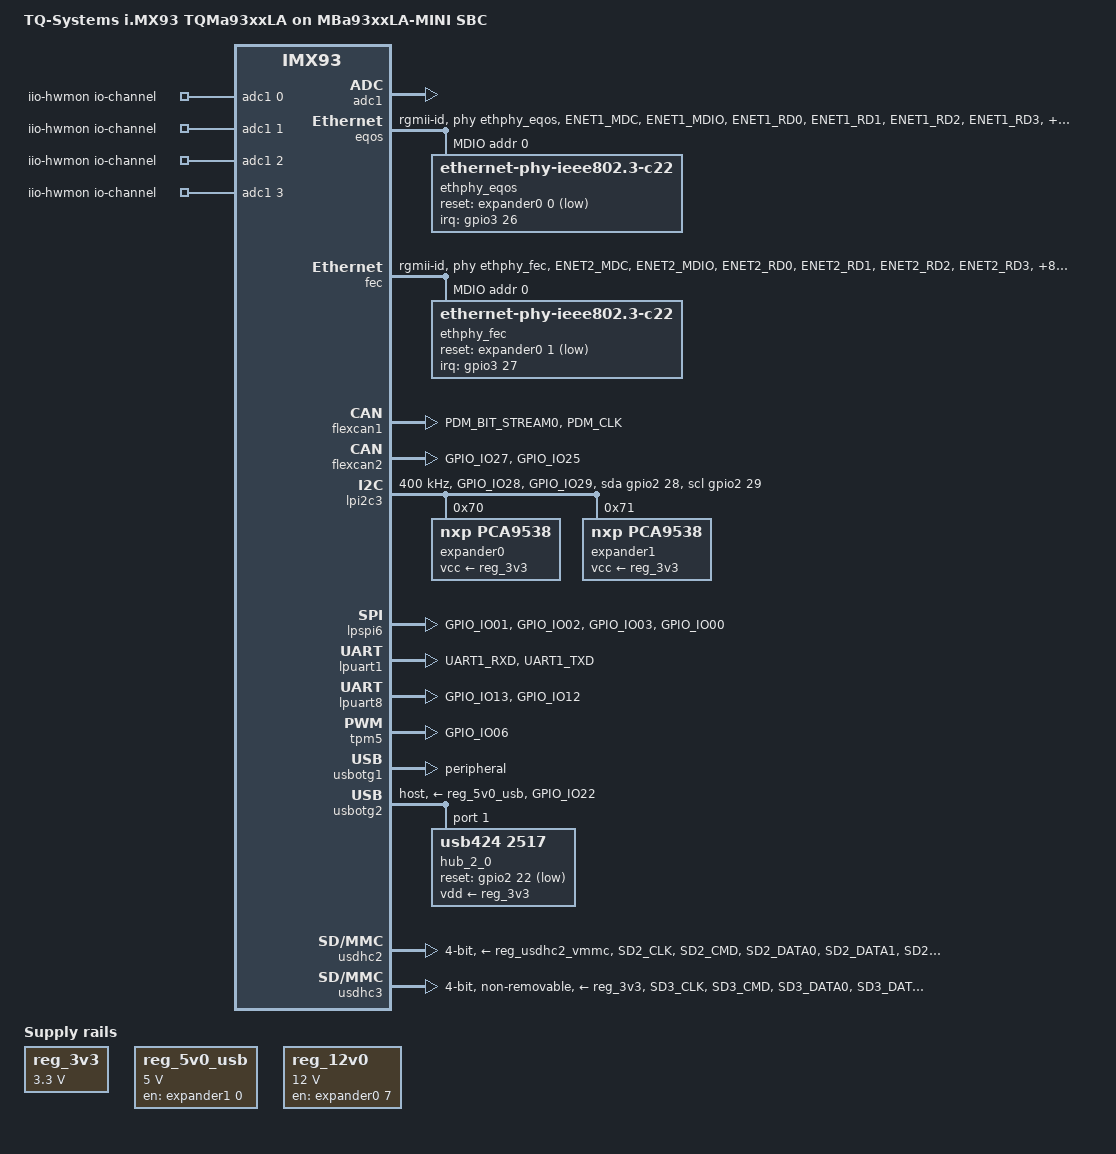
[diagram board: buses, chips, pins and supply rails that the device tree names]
// SPDX-License-Identifier: (GPL-2.0-or-later OR MIT)
/*
 * Copyright (c) 2025-2026 TQ-Systems GmbH <linux@ew.tq-group.com>,
 * D-82229 Seefeld, Germany.
 * Author: Martin Schmiedel
 */
/dts-v1/;

#include <dt-bindings/input/input.h>
#include <dt-bindings/leds/common.h>
#include <dt-bindings/net/ti-dp83867.h>
#include <dt-bindings/pwm/pwm.h>
#include <dt-bindings/usb/pd.h>

#include "imx93-tqma9352.dtsi"

/{
	model = "TQ-Systems i.MX93 TQMa93xxLA on MBa93xxLA-MINI SBC";
	compatible = "tq,imx93-tqma9352-mba93xxla-mini",
		     "tq,imx93-tqma9352", "fsl,imx93";
	chassis-type = "embedded";

	chosen {
		stdout-path = &lpuart1;
	};

	aliases {
		eeprom0 = &eeprom0;
		ethernet0 = &eqos;
		ethernet1 = &fec;
		gpio0 = &gpio1;
		gpio1 = &gpio2;
		gpio2 = &gpio3;
		gpio3 = &gpio4;
		i2c0 = &lpi2c1;
		i2c1 = &lpi2c2;
		i2c2 = &lpi2c3;
		i2c3 = &lpi2c4;
		i2c4 = &lpi2c5;
		mmc0 = &usdhc1;
		mmc1 = &usdhc2;
		mmc2 = &usdhc3;
		rtc0 = &pcf85063;
		rtc1 = &bbnsm_rtc;
		serial0 = &lpuart1;
		serial1 = &lpuart2;
		serial2 = &lpuart3;
		serial3 = &lpuart4;
		serial4 = &lpuart5;
		serial5 = &lpuart6;
		serial6 = &lpuart7;
		serial7 = &lpuart8;
		spi0 = &lpspi1;
		spi1 = &lpspi2;
		spi2 = &lpspi3;
		spi3 = &lpspi4;
		spi4 = &lpspi5;
		spi5 = &lpspi6;
	};

	iio-hwmon {
		compatible = "iio-hwmon";
		io-channels = <&adc1 0>, <&adc1 1>, <&adc1 2>, <&adc1 3>;
	};

	reg_3v3: regulator-3v3 {
		compatible = "regulator-fixed";
		regulator-name = "V_3V3_MB";
		regulator-min-microvolt = <3300000>;
		regulator-max-microvolt = <3300000>;
	};

	reg_5v0_usb: regulator-5v0-usb {
		compatible = "regulator-fixed";
		regulator-name = "V_5V0_HUB";
		regulator-min-microvolt = <5000000>;
		regulator-max-microvolt = <5000000>;
		gpio = <&expander1 0 GPIO_ACTIVE_HIGH>;
		enable-active-high;
	};

	reg_12v0: regulator-12v0 {
		compatible = "regulator-fixed";
		regulator-name = "V_12V";
		regulator-min-microvolt = <12000000>;
		regulator-max-microvolt = <12000000>;
		gpio = <&expander0 7 GPIO_ACTIVE_HIGH>;
		enable-active-high;
	};
};

&adc1 {
	status = "okay";
};

&eqos {
	pinctrl-names = "default";
	pinctrl-0 = <&pinctrl_eqos>;
	phy-mode = "rgmii-id";
	phy-handle = <&ethphy_eqos>;
	status = "okay";

	mdio {
		compatible = "snps,dwmac-mdio";
		#address-cells = <1>;
		#size-cells = <0>;

		ethphy_eqos: ethernet-phy@0 {
			compatible = "ethernet-phy-ieee802.3-c22";
			reg = <0>;
			pinctrl-names = "default";
			pinctrl-0 = <&pinctrl_eqos_phy>;
			interrupt-parent = <&gpio3>;
			interrupts = <26 IRQ_TYPE_LEVEL_LOW>;
			reset-gpios = <&expander0 0 GPIO_ACTIVE_LOW>;
			reset-assert-us = <500000>;
			reset-deassert-us = <50000>;
			enet-phy-lane-no-swap;
			ti,rx-internal-delay = <DP83867_RGMIIDCTL_2_25_NS>;
			ti,tx-internal-delay = <DP83867_RGMIIDCTL_2_25_NS>;
			ti,fifo-depth = <DP83867_PHYCR_FIFO_DEPTH_4_B_NIB>;
			ti,dp83867-rxctrl-strap-quirk;
			ti,clk-output-sel = <DP83867_CLK_O_SEL_OFF>;
		};
	};
};

&fec {
	pinctrl-names = "default";
	pinctrl-0 = <&pinctrl_fec>;
	phy-mode = "rgmii-id";
	phy-handle = <&ethphy_fec>;
	fsl,magic-packet;
	status = "okay";

	mdio {
		#address-cells = <1>;
		#size-cells = <0>;
		clock-frequency = <5000000>;

		ethphy_fec: ethernet-phy@0 {
			compatible = "ethernet-phy-ieee802.3-c22";
			reg = <0>;
			pinctrl-names = "default";
			pinctrl-0 = <&pinctrl_fec_phy>;
			interrupt-parent = <&gpio3>;
			interrupts = <27 IRQ_TYPE_LEVEL_LOW>;
			reset-gpios = <&expander0 1 GPIO_ACTIVE_LOW>;
			reset-assert-us = <500000>;
			reset-deassert-us = <50000>;
			enet-phy-lane-no-swap;
			ti,rx-internal-delay = <DP83867_RGMIIDCTL_2_25_NS>;
			ti,tx-internal-delay = <DP83867_RGMIIDCTL_2_25_NS>;
			ti,fifo-depth = <DP83867_PHYCR_FIFO_DEPTH_4_B_NIB>;
			ti,dp83867-rxctrl-strap-quirk;
			ti,clk-output-sel = <DP83867_CLK_O_SEL_OFF>;
		};
	};
};

&flexcan1 {
	pinctrl-names = "default";
	pinctrl-0 = <&pinctrl_flexcan1>;
	status = "okay";
};

&flexcan2 {
	pinctrl-names = "default";
	pinctrl-0 = <&pinctrl_flexcan2>;
	status = "okay";
};

/* deactivated because pins are used for SDIO */
&flexspi1 {
	status = "disabled";
};

&gpio1 {
	pinctrl-names = "default";
	pinctrl-0 = <&pinctrl_m2_key_b>, <&pinctrl_m2_key_e>;

	gpio-line-names =
		/* 00 */ "", "", "M2_KEYE_ALERT#", "",
		/* 04 */ "", "", "M2_KEYE_UART_WAKE#", "BM1_M2_KEYE_SDIO_WAKE#",
		/* 08 */ "", "", "", "BM2_M2_KEYE_SDIO_RST#",
		/* 12 */ "M2_KEYB_WOWWAN#", "BM3_M2_KEYB_PEWAKE#", "", "",
		/* 16 */ "", "", "", "",
		/* 20 */ "", "", "", "",
		/* 24 */ "", "", "", "",
		/* 28 */ "", "", "", "";
};

&gpio2 {
	pinctrl-names = "default";
	pinctrl-0 = <&pinctrl_gpio2>;

	gpio-line-names =
		/* 00 */ "", "", "", "",
		/* 04 */ "LVDS_RESET#", "LVDS_BLT_EN", "", "LVDS_PWR_EN",
		/* 08 */ "", "", "", "",
		/* 12 */ "", "", "", "",
		/* 16 */ "X1_9", "X1_19", "X1_15", "X1_11",
		/* 20 */ "X1_13", "X1_7", "", "CAM_TRIGGER",
		/* 24 */ "CAM_SYNC", "", "X1_5", "",
		/* 28 */ "", "", "", "";
};

&gpio4 {
	gpio-line-names =
		/* 00 */ "", "", "", "",
		/* 04 */ "", "", "", "",
		/* 08 */ "", "", "", "",
		/* 12 */ "", "", "", "",
		/* 16 */ "", "", "", "",
		/* 20 */ "", "", "", "",
		/* 24 */ "", "", "", "",
		/* 28 */ "", "DSI_GPIO", "", "";
};

&lpi2c3 {
	#address-cells = <1>;
	#size-cells = <0>;
	clock-frequency = <400000>;
	pinctrl-names = "default", "gpio";
	pinctrl-0 = <&pinctrl_lpi2c3>;
	pinctrl-1 = <&pinctrl_lpi2c3_gpio>;
	scl-gpios = <&gpio2 29 (GPIO_ACTIVE_HIGH | GPIO_OPEN_DRAIN)>;
	sda-gpios = <&gpio2 28 (GPIO_ACTIVE_HIGH | GPIO_OPEN_DRAIN)>;
	status = "okay";

	expander0: gpio@70 {
		compatible = "nxp,pca9538";
		reg = <0x70>;
		gpio-controller;
		#gpio-cells = <2>;
		vcc-supply = <&reg_3v3>;
		gpio-line-names = "ENET1_RESET#", "ENET2_RESET#",
				  "M2_KEYE_PERST#", "M2_KEYB_PERST#",
				  "M2_KEYE_W_DISABLE1#", "M2_KEYE_W_DISABLE2#",
				  "M2_KEYA_W_DISABLE1#", "12V_EN";
	};

	expander1: gpio@71 {
		compatible = "nxp,pca9538";
		reg = <0x71>;
		gpio-controller;
		#gpio-cells = <2>;
		vcc-supply = <&reg_3v3>;
		gpio-line-names = "USB_HUB_PWR", "DSI_RST#",
				  "CAM_PWR#", "CAMRST#",
				  "M2_KEYB_FULL_CARD_PWR_OFF#", "M2_KEYB_W_DISABLE2#",
				  "M2_KEYB_RST#", "M2_KEYB_DPR";

		/*
		 * Controls the LTE card FULL_CARD_PWR_OFF pin which is low active
		 * as power down signal. The output-low states, the signal
		 * is inactive, e.g. not power down
		 */
		full-card-power-off-hog {
			gpio-hog;
			gpios = <4 GPIO_ACTIVE_LOW>;
			output-low;
			line-name = "M2_KEYB_FULL_CARD_PWR_OFF#";
		};

		/*
		 * Controls the LTE card reset pin which is low active
		 * as reset signal. The output-low states, the signal
		 * is inactive, e.g. not in reset
		 */
		wlan-perst-hog {
			gpio-hog;
			gpios = <6 GPIO_ACTIVE_LOW>;
			output-low;
			line-name = "M2_KEYB_RST#";
		};
	};
};

&lpspi6 {
	pinctrl-names = "default";
	pinctrl-0 = <&pinctrl_lpspi6>, <&pinctrl_lpspi6_cs>;
	cs-gpios = <&gpio2 0 GPIO_ACTIVE_LOW>;
	status = "okay";
};

&lpuart1 {
	pinctrl-names = "default";
	pinctrl-0 = <&pinctrl_uart1>;
	status = "okay";
};

/* disabled per default, console for M33 */
&lpuart3 {
	pinctrl-names = "default";
	pinctrl-0 = <&pinctrl_uart3>;
	status = "disabled";
};

/* disabled per default, used for bluetooth on M.2 slot */
&lpuart7 {
	pinctrl-names = "default";
	pinctrl-0 = <&pinctrl_uart7>;
	uart-has-rtscts;
	status = "disabled";
};

&lpuart8 {
	pinctrl-names = "default";
	pinctrl-0 = <&pinctrl_uart8>;
	status = "okay";
};

&pcf85063 {
	/* RTC_EVENT# from SoM is connected on mainboard */
	pinctrl-names = "default";
	pinctrl-0 = <&pinctrl_pcf85063>;
	interrupt-parent = <&gpio1>;
	interrupts = <14 IRQ_TYPE_EDGE_FALLING>;
};

&tpm5 {
	pinctrl-names = "default";
	pinctrl-0 = <&pinctrl_tpm5>;
};

&usbotg1 {
	disable-over-current;
	dr_mode = "peripheral";
	samsung,picophy-pre-emp-curr-control = <3>;
	samsung,picophy-dc-vol-level-adjust = <7>;
	status = "okay";
};

&usbotg2 {
	pinctrl-names = "default";
	pinctrl-0 = <&pinctrl_usbhub>;
	#address-cells = <1>;
	#size-cells = <0>;
	disable-over-current;
	dr_mode = "host";
	vbus-supply = <&reg_5v0_usb>;
	samsung,picophy-pre-emp-curr-control = <3>;
	samsung,picophy-dc-vol-level-adjust = <7>;
	status = "okay";

	hub_2_0: usb-hub@1 {
		compatible = "usb424,2517";
		reg = <1>;
		reset-gpios = <&gpio2 22 GPIO_ACTIVE_LOW>;
		vdd-supply = <&reg_3v3>;
	};
};

&usdhc2 {
	pinctrl-names = "default", "state_100mhz", "state_200mhz";
	pinctrl-0 = <&pinctrl_usdhc2_hs>, <&pinctrl_usdhc2_gpio>;
	pinctrl-1 = <&pinctrl_usdhc2_uhs>, <&pinctrl_usdhc2_gpio>;
	pinctrl-2 = <&pinctrl_usdhc2_uhs>, <&pinctrl_usdhc2_gpio>;
	bus-width = <4>;
	cd-gpios = <&gpio3 0 GPIO_ACTIVE_LOW>;
	disable-wp;
	no-sdio;
	no-mmc;
	vmmc-supply = <&reg_usdhc2_vmmc>;
	status = "okay";
};

&usdhc3 {
	pinctrl-names = "default";
	pinctrl-0 = <&pinctrl_usdhc3>;
	bus-width = <4>;
	non-removable;
	vmmc-supply = <&reg_3v3>;
};

&iomuxc {
	pinctrl_eqos: eqosgrp {
		fsl,pins = /* PD | FSEL_2 | DSE X4 */
			   <MX93_PAD_ENET1_MDC__ENET_QOS_MDC				0x51e>,
			   /* SION | HYS | FSEL_2 | DSE X4 */
			   <MX93_PAD_ENET1_MDIO__ENET_QOS_MDIO				0x4000111e>,
			   /* HYS | FSEL_0 | DSE no drive */
			   <MX93_PAD_ENET1_RD0__ENET_QOS_RGMII_RD0			0x1000>,
			   <MX93_PAD_ENET1_RD1__ENET_QOS_RGMII_RD1			0x1000>,
			   <MX93_PAD_ENET1_RD2__ENET_QOS_RGMII_RD2			0x1000>,
			   <MX93_PAD_ENET1_RD3__ENET_QOS_RGMII_RD3			0x1000>,
			   <MX93_PAD_ENET1_RX_CTL__ENET_QOS_RGMII_RX_CTL		0x1000>,
			   /* HYS | PD | FSEL_0 | DSE no drive */
			   <MX93_PAD_ENET1_RXC__CCM_ENET_QOS_CLOCK_GENERATE_RX_CLK	0x1400>,
			   /* PD | FSEL_2 | DSE X5 */
			   <MX93_PAD_ENET1_TD0__ENET_QOS_RGMII_TD0			0x53e>,
			   <MX93_PAD_ENET1_TD1__ENET_QOS_RGMII_TD1			0x53e>,
			   <MX93_PAD_ENET1_TD2__ENET_QOS_RGMII_TD2			0x53e>,
			   <MX93_PAD_ENET1_TD3__ENET_QOS_RGMII_TD3			0x53e>,
			   <MX93_PAD_ENET1_TX_CTL__ENET_QOS_RGMII_TX_CTL		0x53e>,
			   /* PD | FSEL_3 | DSE X4 */
			   <MX93_PAD_ENET1_TXC__CCM_ENET_QOS_CLOCK_GENERATE_TX_CLK	0x59e>;
	};

	pinctrl_eqos_phy: eqosphygrp {
		fsl,pins = /* HYS | FSEL_0 | DSE no drive */
			   <MX93_PAD_CCM_CLKO1__GPIO3_IO26		0x1000>;
	};

	pinctrl_fec: fecgrp {
		fsl,pins = /* PD | FSEL_2 | DSE X4 */
			   <MX93_PAD_ENET2_MDC__ENET1_MDC		0x51e>,
			   /* SION | HYS | FSEL_2 | DSE X4 */
			   <MX93_PAD_ENET2_MDIO__ENET1_MDIO		0x4000111e>,
			   /* HYS | FSEL_0 | DSE no drive */
			   <MX93_PAD_ENET2_RD0__ENET1_RGMII_RD0		0x1000>,
			   <MX93_PAD_ENET2_RD1__ENET1_RGMII_RD1		0x1000>,
			   <MX93_PAD_ENET2_RD2__ENET1_RGMII_RD2		0x1000>,
			   <MX93_PAD_ENET2_RD3__ENET1_RGMII_RD3		0x1000>,
			   <MX93_PAD_ENET2_RX_CTL__ENET1_RGMII_RX_CTL	0x1000>,
			   /* HYS | PD | FSEL_0 | DSE no drive */
			   <MX93_PAD_ENET2_RXC__ENET1_RGMII_RXC		0x1400>,
			   /* PD | FSEL_2 | DSE X5 */
			   <MX93_PAD_ENET2_TD0__ENET1_RGMII_TD0		0x53e>,
			   <MX93_PAD_ENET2_TD1__ENET1_RGMII_TD1		0x53e>,
			   <MX93_PAD_ENET2_TD2__ENET1_RGMII_TD2		0x53e>,
			   <MX93_PAD_ENET2_TD3__ENET1_RGMII_TD3		0x53e>,
			   <MX93_PAD_ENET2_TX_CTL__ENET1_RGMII_TX_CTL	0x53e>,
			   /* PD | FSEL_3 | DSE X4 */
			   <MX93_PAD_ENET2_TXC__ENET1_RGMII_TXC		0x59e>;
	};

	pinctrl_fec_phy: fecphygrp {
		fsl,pins = /* HYS | FSEL_0 | DSE no drive */
			   <MX93_PAD_CCM_CLKO2__GPIO3_IO27		0x1000>;
	};

	pinctrl_flexcan1: flexcan1grp {
		fsl,pins = /* HYS | PU | FSEL_0 | DSE no drive */
			   <MX93_PAD_PDM_BIT_STREAM0__CAN1_RX		0x1200>,
			   /* PU | FSEL_3 | DSE X4 */
			   <MX93_PAD_PDM_CLK__CAN1_TX			0x039e>;
	};

	pinctrl_flexcan2: flexcan2grp {
		fsl,pins = /* HYS | PU | FSEL_0 | DSE no drive */
			   <MX93_PAD_GPIO_IO27__CAN2_RX			0x1200>,
			   /* PU | FSEL_3 | DSE X4 */
			   <MX93_PAD_GPIO_IO25__CAN2_TX			0x039e>;
	};

	pinctrl_gpio2: gpio2grp {
		fsl,pins = /* HYS | PD | FSEL_2 | DSE X4 */
			   <MX93_PAD_GPIO_IO16__GPIO2_IO16		0x151e>,
			   <MX93_PAD_GPIO_IO17__GPIO2_IO17		0x151e>,
			   <MX93_PAD_GPIO_IO18__GPIO2_IO18		0x151e>,
			   <MX93_PAD_GPIO_IO19__GPIO2_IO19		0x151e>,
			   <MX93_PAD_GPIO_IO20__GPIO2_IO20		0x151e>,
			   <MX93_PAD_GPIO_IO21__GPIO2_IO21		0x151e>,
			   <MX93_PAD_GPIO_IO26__GPIO2_IO26		0x151e>;
	};

	pinctrl_jtag: jtaggrp {
		fsl,pins = <MX93_PAD_DAP_TCLK_SWCLK__JTAG_MUX_TCK	0x051e>,
			   <MX93_PAD_DAP_TDI__JTAG_MUX_TDI		0x1200>,
			   <MX93_PAD_DAP_TDO_TRACESWO__JTAG_MUX_TDO	0x031e>,
			   <MX93_PAD_DAP_TMS_SWDIO__JTAG_MUX_TMS	0x1200>;
	};

	pinctrl_lpi2c3: lpi2c3grp {
		fsl,pins = /* SION | HYS | OD | FSEL_3 | DSE X4 */
			   <MX93_PAD_GPIO_IO28__LPI2C3_SDA		0x4000199e>,
			   <MX93_PAD_GPIO_IO29__LPI2C3_SCL		0x4000199e>;
	};

	pinctrl_lpi2c3_gpio: lpi2c3-gpiogrp {
		fsl,pins = /* SION | HYS | OD | FSEL_3 | DSE X4 */
			   <MX93_PAD_GPIO_IO28__GPIO2_IO28		0x4000199e>,
			   <MX93_PAD_GPIO_IO29__GPIO2_IO29		0x4000199e>;
	};

	pinctrl_lpspi6: lpspi6grp {
		fsl,pins = /* HYS | PD | FSEL_0 | DSE no drive */
			   <MX93_PAD_GPIO_IO01__LPSPI6_SIN		0x1400>,
			   /* PD | FSEL_2 | DSE X4 */
			   <MX93_PAD_GPIO_IO02__LPSPI6_SOUT		0x051e>,
			   <MX93_PAD_GPIO_IO03__LPSPI6_SCK		0x051e>;
	};

	pinctrl_lpspi6_cs: lpspi6csgrp {
		fsl,pins = /* FSEL_2 | DSE X4 */
			   <MX93_PAD_GPIO_IO00__GPIO2_IO00		0x011e>;
	};

	pinctrl_m2_key_b: m2keybgrp {
		fsl,pins = <MX93_PAD_SAI1_TXC__GPIO1_IO12		0x00001000>,
			   <MX93_PAD_SAI1_TXD0__GPIO1_IO13		0x00001000>;
	};

	pinctrl_m2_key_e: m2keyegrp {
		fsl,pins = <MX93_PAD_I2C2_SCL__GPIO1_IO02		0x00001000>,
			   <MX93_PAD_UART2_RXD__GPIO1_IO06		0x00001000>,
			   <MX93_PAD_UART2_TXD__GPIO1_IO07		0x00001000>,
			   <MX93_PAD_SAI1_TXFS__GPIO1_IO11		0x00001000>;
	};

	/*CAM_MCLK, DSI_GPIO, CAM_TRIGGER, CAM_SYNC*/
	pinctrl_mipi_csi_dsi: mipi_csi_dsigrp {
		fsl,pins = <MX93_PAD_CCM_CLKO3__CCMSRCGPCMIX_CLKO3     0x0000011e>,
			   <MX93_PAD_CCM_CLKO4__GPIO4_IO29             0x0000011e>,
			   <MX93_PAD_GPIO_IO23__GPIO2_IO23             0x0000011e>,
			   <MX93_PAD_GPIO_IO24__GPIO2_IO24             0x0000111e>;
	};

	pinctrl_pcf85063: pcf85063grp {
		fsl,pins = /* HYS | FSEL_0 | No DSE */
			   <MX93_PAD_SAI1_RXD0__GPIO1_IO14		0x1000>;
	};

	pinctrl_tpm5: tpm5grp {
		fsl,pins = <MX93_PAD_GPIO_IO06__TPM5_CH0		0x57e>;
	};

	pinctrl_uart1: uart1grp {
		fsl,pins = /* HYS | FSEL_0 | No DSE */
			   <MX93_PAD_UART1_RXD__LPUART1_RX		0x1000>,
			   /* FSEL_2 | DSE X4 */
			   <MX93_PAD_UART1_TXD__LPUART1_TX		0x011e>;
	};

	pinctrl_uart3: uart3grp {
		fsl,pins = /* HYS | FSEL_0 | No DSE */
			   <MX93_PAD_GPIO_IO15__LPUART3_RX		0x1000>,
			   /* FSEL_2 | DSE X4 */
			   <MX93_PAD_GPIO_IO14__LPUART3_TX		0x011e>;
	};

	pinctrl_uart7: uart7grp {
		fsl,pins = <MX93_PAD_GPIO_IO08__LPUART7_TX             0x031e>,
			   <MX93_PAD_GPIO_IO09__LPUART7_RX             0x031e>,
			   <MX93_PAD_GPIO_IO10__LPUART7_CTS_B          0x031e>,
			   <MX93_PAD_GPIO_IO11__LPUART7_RTS_B          0x031e>;
	};

	pinctrl_uart8: uart8grp {
		fsl,pins = /* HYS | FSEL_0 | No DSE */
			   <MX93_PAD_GPIO_IO13__LPUART8_RX		0x1000>,
			   /* FSEL_2 | DSE X4 */
			   <MX93_PAD_GPIO_IO12__LPUART8_TX		0x011e>;
	};

	pinctrl_usbhub: usbhubgrp {
		fsl,pins = /* HYS | PD | FSEL_2 | DSE X4 */
			   <MX93_PAD_GPIO_IO22__GPIO2_IO22		0x151e>;
	};

	pinctrl_usdhc2_gpio: usdhc2gpiogrp {
		fsl,pins = /* HYS | FSEL_0 | No DSE */
			   <MX93_PAD_SD2_CD_B__GPIO3_IO00		0x1000>;
	};

	/* enable SION for data and cmd pad due to ERR052021 */
	pinctrl_usdhc2_hs: usdhc2hsgrp {
		fsl,pins = /* PD | FSEL_3 | DSE X5 */
			   <MX93_PAD_SD2_CLK__USDHC2_CLK		0x05be>,
			   /* HYS | PU | FSEL_3 | DSE X4 */
			   <MX93_PAD_SD2_CMD__USDHC2_CMD		0x4000139e>,
			   /* HYS | PU | FSEL_3 | DSE X3 */
			   <MX93_PAD_SD2_DATA0__USDHC2_DATA0		0x4000138e>,
			   <MX93_PAD_SD2_DATA1__USDHC2_DATA1		0x4000138e>,
			   <MX93_PAD_SD2_DATA2__USDHC2_DATA2		0x4000138e>,
			   <MX93_PAD_SD2_DATA3__USDHC2_DATA3		0x4000138e>,
			   /* FSEL_2 | DSE X3 */
			   <MX93_PAD_SD2_VSELECT__USDHC2_VSELECT	0x010e>;
	};

	/* enable SION for data and cmd pad due to ERR052021 */
	pinctrl_usdhc2_uhs: usdhc2uhsgrp {
		fsl,pins = /* PD | FSEL_3 | DSE X6 */
			   <MX93_PAD_SD2_CLK__USDHC2_CLK		0x05fe>,
			   /* HYS | PU | FSEL_3 | DSE X4 */
			   <MX93_PAD_SD2_CMD__USDHC2_CMD		0x4000139e>,
			   <MX93_PAD_SD2_DATA0__USDHC2_DATA0		0x4000139e>,
			   <MX93_PAD_SD2_DATA1__USDHC2_DATA1		0x4000139e>,
			   <MX93_PAD_SD2_DATA2__USDHC2_DATA2		0x4000139e>,
			   <MX93_PAD_SD2_DATA3__USDHC2_DATA3		0x4000139e>,
			   /* FSEL_2 | DSE X3 */
			   <MX93_PAD_SD2_VSELECT__USDHC2_VSELECT	0x010e>;
	};

	/* enable SION for data and cmd pad due to ERR052021 */
	pinctrl_usdhc3: usdhc3grp {
		fsl,pins = /* PD | FSEL_3 | DSE X6 */
			   <MX93_PAD_SD3_CLK__USDHC3_CLK		0x05fe>,
			   /* HYS | PU | FSEL_3 | DSE X4 */
			   <MX93_PAD_SD3_CMD__USDHC3_CMD		0x4000139e>,
			   <MX93_PAD_SD3_DATA0__USDHC3_DATA0		0x4000139e>,
			   <MX93_PAD_SD3_DATA1__USDHC3_DATA1		0x4000139e>,
			   <MX93_PAD_SD3_DATA2__USDHC3_DATA2		0x4000139e>,
			   <MX93_PAD_SD3_DATA3__USDHC3_DATA3		0x4000139e>;
	};
};
